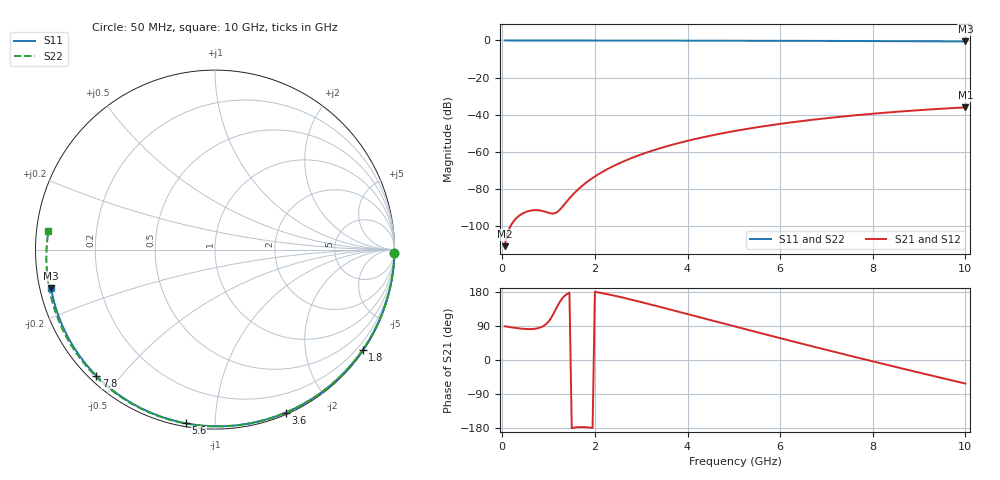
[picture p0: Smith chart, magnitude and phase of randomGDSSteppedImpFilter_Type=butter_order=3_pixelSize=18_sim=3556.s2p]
! freq	dB(S11)	phase(S11)	dB(S12)	phase(S12)
!  dB(S21)	phase(S21)	dB(S22)	phase(S22)
!S-par simulation data
#  GHz  S  DB  R 50
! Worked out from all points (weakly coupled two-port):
!   200 points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, 50 MHz to 10 GHz, reference 50 ohm
!   highest |S21| = -36.05 dB at 10 GHz (marker M1); lowest = -110.8 dB at 50 MHz (marker M2)
!   lowest |S11| = -0.6 dB at 10 GHz (marker M3), VSWR 31.41, Z = 1.61 - j5.75 ohm
!   |S11| at or under -10 dB: nowhere
!   |S22| runs from -0.6 to 0.0 dB; largest |S21 - S12| = 0
!   S11 on the Smith chart (normalised r, x): 50 MHz: open; 1.8 GHz: 0.03, -3.25; 3.6 GHz: 0.02, -1.52; 5.6 GHz: 0.02, -0.85; 7.8 GHz: 0.02, -0.43; 10 GHz: 0.03, -0.12
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0.05  -0.00 -1.0  -110.79 89.0  -110.79 89.0  -0.00 -1.1
0.4  -0.01 -7.7  -93.76 82.9  -93.76 82.9  -0.01 -8.6
0.8  -0.02 -15.4  -91.52 84.9  -91.52 84.9  -0.02 -17.0
1.6  -0.04 -30.5  -81.09 -177.5  -81.09 -177.5  -0.04 -33.7
1.65  -0.04 -31.4  -79.92 -177.0  -79.92 -177.0  -0.04 -34.7
1.75  -0.04 -33.3  -77.77 -177.0  -77.77 -177.0  -0.05 -36.8
1.8  -0.04 -34.2  -76.78 -177.3  -76.78 -177.3  -0.05 -37.8
2.1  -0.05 -39.8  -71.68 177.7  -71.68 177.7  -0.06 -43.9
2.5  -0.06 -47.1  -66.44 167.6  -66.44 167.6  -0.07 -51.9
2.9  -0.07 -54.3  -62.29 155.8  -62.29 155.8  -0.08 -59.8
3.4  -0.08 -63.1  -58.10 140.3  -58.10 140.3  -0.09 -69.5
3.6  -0.09 -66.5  -56.64 134.0  -56.64 134.0  -0.10 -73.3
4.3  -0.11 -78.4  -52.31 111.6  -52.31 111.6  -0.12 -86.3
5.05  -0.14 -90.8  -48.62 87.6  -48.62 87.6  -0.15 -99.8
5.6  -0.17 -99.5  -46.37 70.2  -46.37 70.2  -0.18 -109.5
6.15  -0.19 -108.2  -44.42 52.9  -44.42 52.9  -0.21 -119.0
6.7  -0.23 -116.6  -42.72 35.8  -42.72 35.8  -0.25 -128.4
7.25  -0.27 -125.0  -41.22 19.0  -41.22 19.0  -0.29 -137.8
7.8  -0.31 -133.3  -39.90 2.4  -39.90 2.4  -0.34 -147.2
8.35  -0.36 -141.6  -38.74 -14.1  -38.74 -14.1  -0.40 -156.6
9.2  -0.45 -154.5  -37.21 -39.1  -37.21 -39.1  -0.49 -171.6
10  -0.55 -166.9  -36.05 -62.2  -36.05 -62.2  -0.59 173.7
